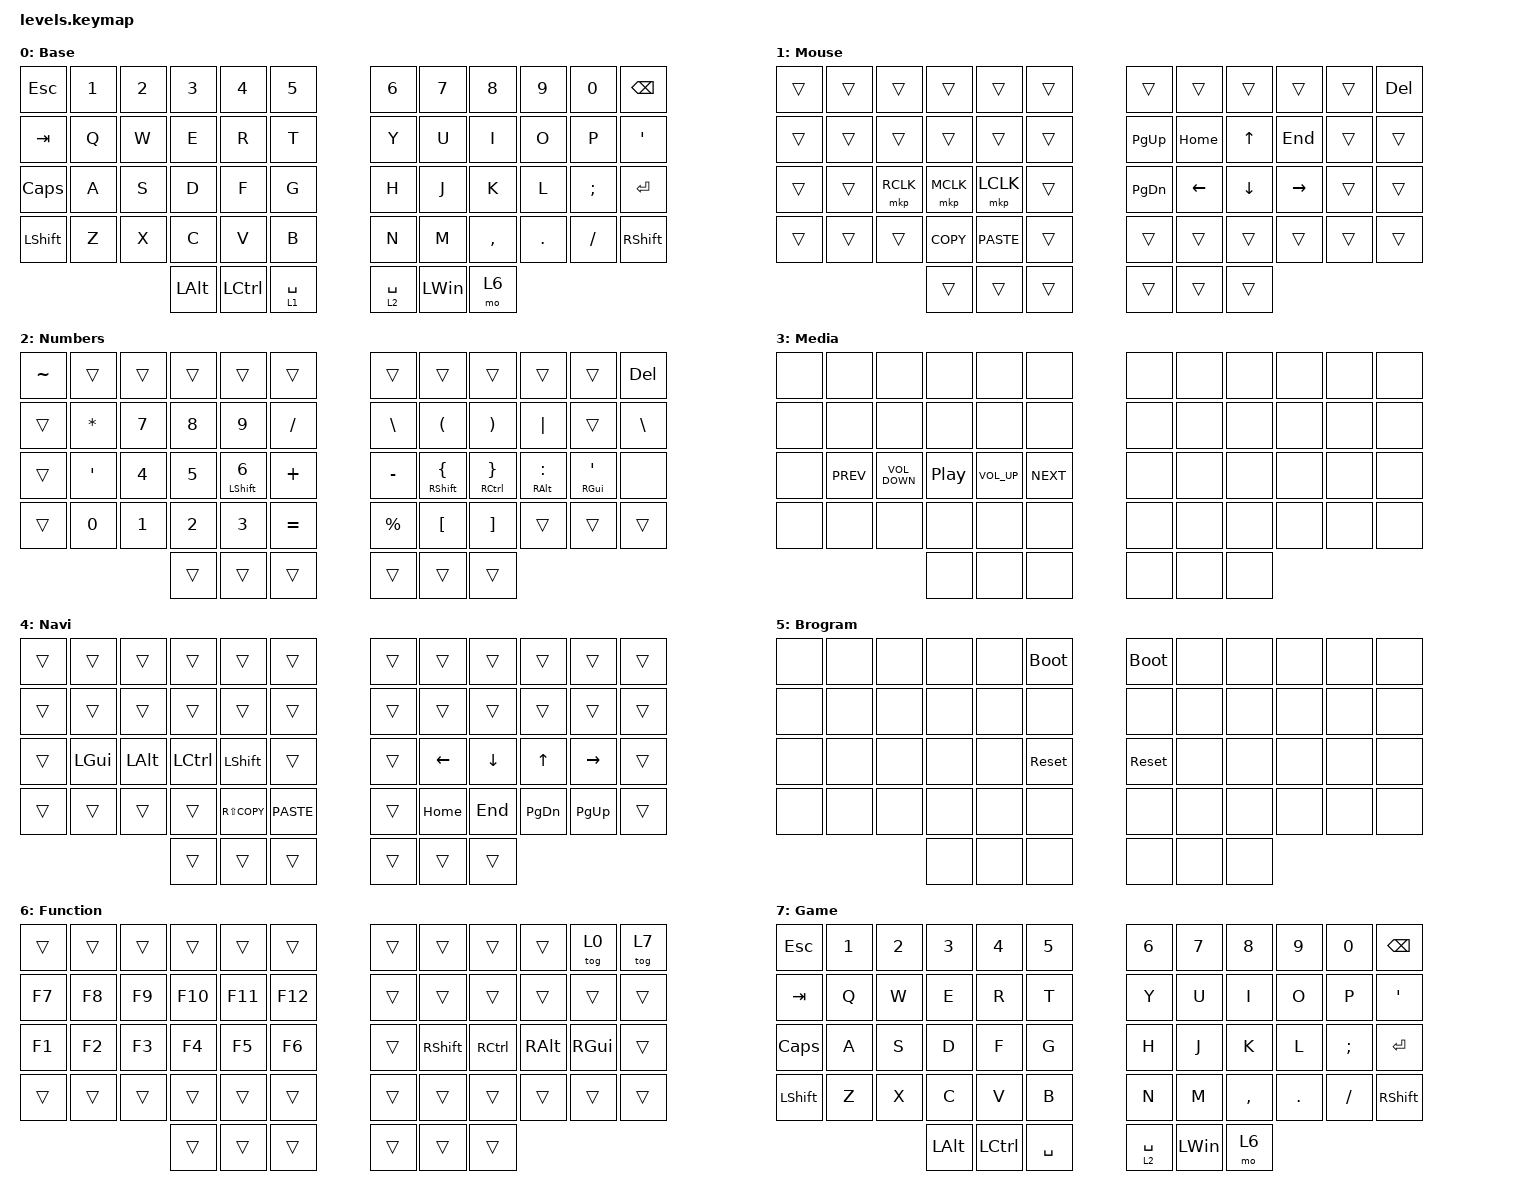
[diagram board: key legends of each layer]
#include <behaviors.dtsi>
#include <dt-bindings/zmk/keys.h>
#include <dt-bindings/zmk/pointing.h>

/ {
    combos { compatible = "zmk,combos"; };

    behaviors {
        hml: hml {
            compatible = "zmk,behavior-hold-tap";
            label = "HML";
            bindings = <&kp>, <&kp>;

            #binding-cells = <2>;
            tapping-term-ms = <190>;
            quick-tap-ms = <175>;
            require-prior-idle-ms = <150>;
            flavor = "balanced";
            hold-trigger-key-positions = <6 7 8 9 10 11 18 19 20 21 22 23 30 31 32 33 34 35 42 43 44 45 46 47 51 52 53 50 49 48>;
            hold-trigger-on-release;
        };

        hmr: hmr {
            compatible = "zmk,behavior-hold-tap";
            label = "HMR";
            bindings = <&kp>, <&kp>;

            #binding-cells = <2>;
            tapping-term-ms = <190>;
            quick-tap-ms = <175>;
            require-prior-idle-ms = <150>;
            flavor = "balanced";
            hold-trigger-key-positions = <0 1 5 12 13 14 15 16 17 24 25 26 27 28 29 36 37 38 39 40 41 48 49 50 4 3 15 2 51 52 53>;
            hold-trigger-on-release;
        };
    };

    keymap {
        compatible = "zmk,keymap";

        base {
            display-name = "Base";
            bindings = <
&kp ESCAPE    &kp N1  &kp N2  &kp N3        &kp N4            &kp N5         &kp N6       &kp N7        &kp N8     &kp N9   &kp N0     &kp BACKSPACE
&kp TAB       &kp Q   &kp W   &kp E         &kp R             &kp T          &kp Y        &kp U         &kp I      &kp O    &kp P      &kp SINGLE_QUOTE
&kp CAPSLOCK  &kp A   &kp S   &kp D         &kp F             &kp G          &kp H        &kp J         &kp K      &kp L    &kp SEMI   &kp ENTER
&kp LSHFT     &kp Z   &kp X   &kp C         &kp V             &kp B          &kp N        &kp M         &kp COMMA  &kp DOT  &kp SLASH  &kp RSHFT
                              &kp LEFT_ALT  &kp LEFT_CONTROL  &lt 1 SPACE    &lt 2 SPACE  &kp LEFT_WIN  &mo 6
            >;
        };

        mouse {
            display-name = "Mouse";
            bindings = <
&trans  &trans  &trans     &trans      &trans       &trans    &trans         &trans          &trans          &trans     &trans  &kp DELETE
&trans  &trans  &trans     &trans      &trans       &trans    &kp PG_UP      &kp HOME        &kp UP_ARROW    &kp END    &trans  &trans
&trans  &trans  &mkp RCLK  &mkp MCLK   &mkp LCLK    &trans    &kp PAGE_DOWN  &kp LEFT_ARROW  &kp DOWN_ARROW  &kp RIGHT  &trans  &trans
&trans  &trans  &trans     &kp K_COPY  &kp K_PASTE  &trans    &trans         &trans          &trans          &trans     &trans  &trans
                           &trans      &trans       &trans    &trans         &trans          &trans
            >;
        };

        num {
            display-name = "Numbers";
            bindings = <
&kp TILDE  &trans        &trans  &trans  &trans              &trans       &trans         &trans                 &trans                  &trans           &trans                &kp DELETE
&trans     &kp ASTERISK  &kp N7  &kp N8  &kp N9              &kp SLASH    &kp BACKSLASH  &kp LEFT_PARENTHESIS   &kp RIGHT_PARENTHESIS   &kp PIPE         &trans                &kp BACKSLASH
&trans     &kp APOS      &kp N4  &kp N5  &hml LEFT_SHIFT N6  &kp PLUS     &kp MINUS      &hmr RSHFT LEFT_BRACE  &hmr RCTRL RIGHT_BRACE  &hmr RALT COLON  &hmr RGUI APOSTROPHE  &none
&trans     &kp N0        &kp N1  &kp N2  &kp N3              &kp EQUAL    &kp PERCENT    &kp LEFT_BRACKET       &kp RIGHT_BRACKET       &trans           &trans                &trans
                                 &trans  &trans              &trans       &trans         &trans                 &trans
            >;
        };

        media {
            bindings = <
&none  &none       &none              &none             &none            &none         &none  &none  &none  &none  &none  &none
&none  &none       &none              &none             &none            &none         &none  &none  &none  &none  &none  &none
&none  &kp C_PREV  &kp C_VOLUME_DOWN  &kp C_PLAY_PAUSE  &kp C_VOLUME_UP  &kp C_NEXT    &none  &none  &none  &none  &none  &none
&none  &none       &none              &none             &none            &none         &none  &none  &none  &none  &none  &none
                                      &none             &none            &none         &none  &none  &none
            >;

            label = "Media";
        };

        nav {
            bindings = <
&trans  &trans        &trans        &trans     &trans          &trans         &trans  &trans    &trans    &trans         &trans       &trans
&trans  &trans        &trans        &trans     &trans          &trans         &trans  &trans    &trans    &trans         &trans       &trans
&trans  &kp LEFT_GUI  &kp LEFT_ALT  &kp LCTRL  &kp LEFT_SHIFT  &trans         &trans  &kp LEFT  &kp DOWN  &kp UP         &kp RIGHT    &trans
&trans  &trans        &trans        &trans     &kp RS(K_COPY)  &kp K_PASTE    &trans  &kp HOME  &kp END   &kp PAGE_DOWN  &kp PAGE_UP  &trans
                                    &trans     &trans          &trans         &trans  &trans    &trans
            >;

            label = "Navi";
        };

        prog {
            bindings = <
&none  &none  &none  &none  &none  &bootloader    &bootloader  &none  &none  &none  &none  &none
&none  &none  &none  &none  &none  &none          &none        &none  &none  &none  &none  &none
&none  &none  &none  &none  &none  &sys_reset     &sys_reset   &none  &none  &none  &none  &none
&none  &none  &none  &none  &none  &none          &none        &none  &none  &none  &none  &none
                     &none  &none  &none          &none        &none  &none
            >;

            label = "Brogram";
        };

        func {
            display-name = "Function";
            bindings = <
&trans  &trans  &trans  &trans   &trans   &trans     &trans  &trans     &trans     &trans    &tog 0    &tog 7
&kp F7  &kp F8  &kp F9  &kp F10  &kp F11  &kp F12    &trans  &trans     &trans     &trans    &trans    &trans
&kp F1  &kp F2  &kp F3  &kp F4   &kp F5   &kp F6     &trans  &kp RSHFT  &kp RCTRL  &kp RALT  &kp RGUI  &trans
&trans  &trans  &trans  &trans   &trans   &trans     &trans  &trans     &trans     &trans    &trans    &trans
                        &trans   &trans   &trans     &trans  &trans     &trans
            >;
        };

        Game-Mode {
            display-name = "Game";
            bindings = <
&kp ESCAPE    &kp N1  &kp N2  &kp N3        &kp N4            &kp N5       &kp N6       &kp N7        &kp N8     &kp N9   &kp N0     &kp BACKSPACE
&kp TAB       &kp Q   &kp W   &kp E         &kp R             &kp T        &kp Y        &kp U         &kp I      &kp O    &kp P      &kp SINGLE_QUOTE
&kp CAPSLOCK  &kp A   &kp S   &kp D         &kp F             &kp G        &kp H        &kp J         &kp K      &kp L    &kp SEMI   &kp ENTER
&kp LSHFT     &kp Z   &kp X   &kp C         &kp V             &kp B        &kp N        &kp M         &kp COMMA  &kp DOT  &kp SLASH  &kp RSHFT
                              &kp LEFT_ALT  &kp LEFT_CONTROL  &kp SPACE    &lt 2 SPACE  &kp LEFT_WIN  &mo 6
            >;
        };
    };
};
